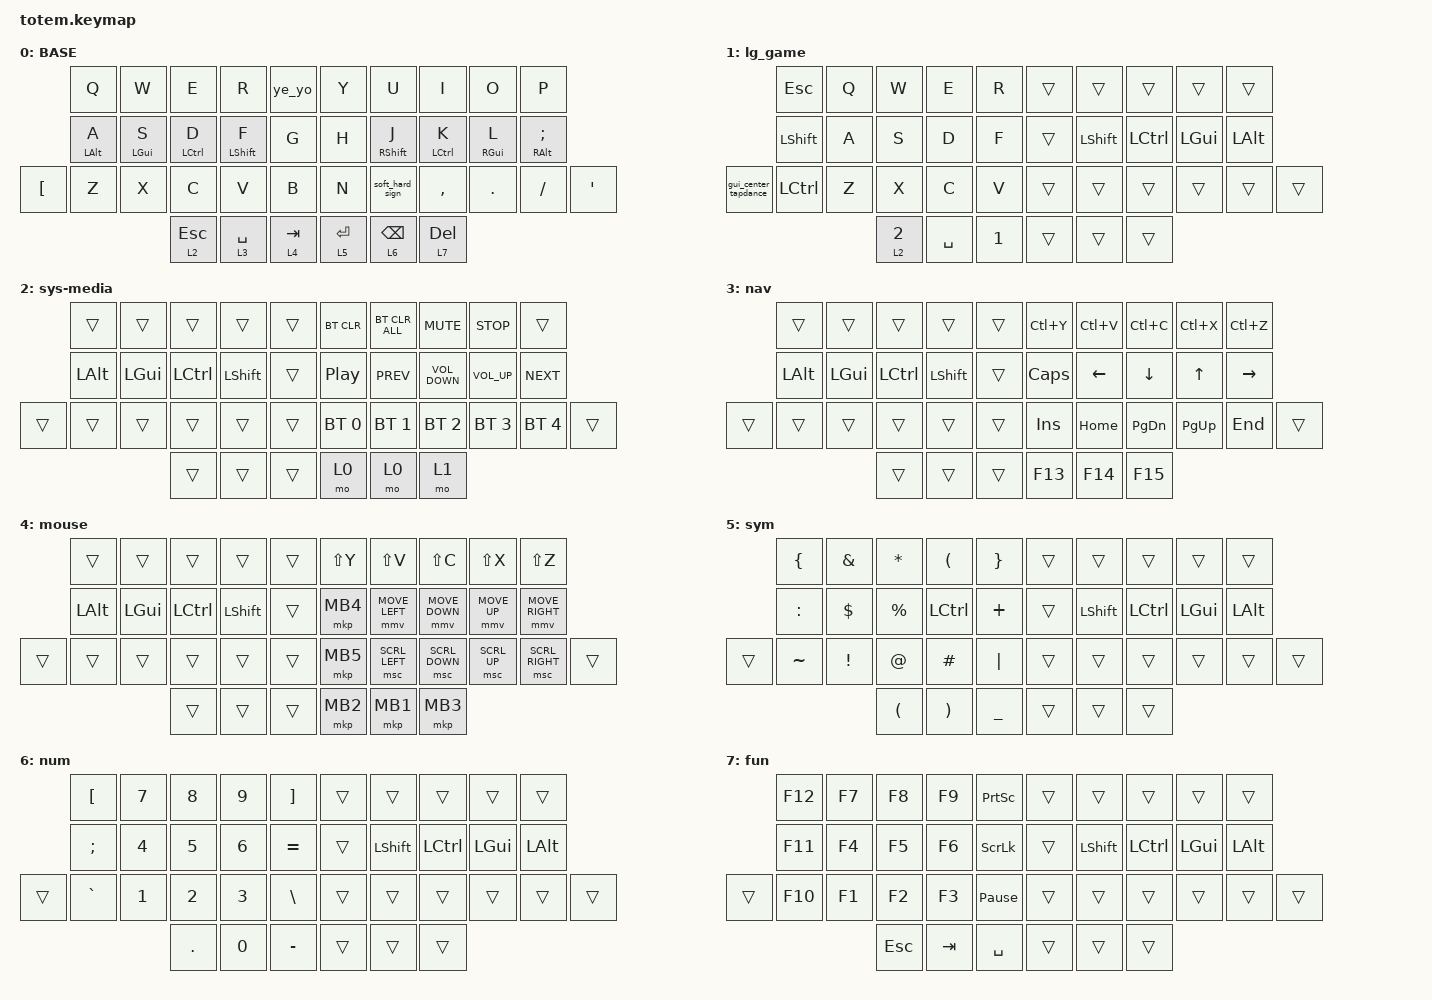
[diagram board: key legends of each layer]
//
//                                                        ▀▀▀▀▀     ▀▀▀▀▀          ▀▀█▀▀
//                                                        ▄▀▀▀▄  ▄  ▄▀▀▀▄  ▄  ▄▀▀▀▄  █  ▄▀▀▀▄
//                                                        █   █  █  █   █  █  █   █  █  █   █
//                                                         ▀▀▀   █   ▀▀▀   █   ▀▀▀   ▀   ▀▀▀
//                                                               █      ▄▄▄█▄▄▄    █   █  
//                                                               ▀      █  █  █     █▄█
//                                                             ▀▀▀▀▀    █  █  █      ▀
//                                                                      ▀  ▀  ▀
//
// ▄▄▄▄▄▄▄▄▄▄▄▄▄▄▄▄▄▄▄▄▄▄▄▄▄▄▄▄▄▄▄▄▄▄▄▄▄▄▄▄▄▄▄▄▄▄▄▄▄▄▄▄▄▄▄▄▄▄▄▄▄▄▄▄▄▄▄▄▄▄▄▄▄▄▄▄▄▄▄▄▄▄▄▄▄▄▄▄▄▄▄▄▄▄▄▄▄▄▄▄▄▄▄▄▄▄▄▄▄▄▄▄▄▄▄▄▄▄▄▄▄▄▄▄▄▄▄▄▄▄▄▄▄▄▄▄▄▄▄▄▄▄▄▄▄▄▄▄▄

#include <behaviors.dtsi>
#include <dt-bindings/zmk/bt.h>
#include <dt-bindings/zmk/keys.h>
#include <dt-bindings/zmk/pointing.h>
#include "keys_ru.h"

#define BASE 0
#define NAV  1
#define SYM  2
#define ADJ  3
#define TVP1 4
#define TVP2 5

&mt {
    quick-tap-ms = <100>;
    global-quick-tap;
    flavor = "tap-preferred";
    tapping-term-ms = <170>;
};

/ {
    combos {
        compatible = "zmk,combos";

        quotes_single {
            bindings = <&kp SQT>;
            key-positions = <17 18>;
        };

        quotes_double {
            bindings = <&kp DQT>;
            key-positions = <12 11>;
        };

        gui {
            bindings = <&kp LEFT_GUI>;
            key-positions = <18 11>;
        };

        layout_change {
            bindings = <&kp LG(SPACE)>;
            key-positions = <33 36>;
        };
    };

    macros {
        layout_change: layout_change {
            compatible = "zmk,behavior-macro";
            #binding-cells = <0>;
            bindings = <&none>;
            label = "LAYOUT_CHANGE";
        };
    };

    behaviors {
        gui_center_tapdance: gui_center_tapdance {
            compatible = "zmk,behavior-tap-dance";
            label = "GUI_CENTER_TAPDANCE";
            #binding-cells = <0>;
            bindings = <&kp LEFT_GUI>, <&kp LG(D)>;

            tapping-term-ms = <200>;
        };

        soft_hard_sign: soft_hard_sign {
            compatible = "zmk,behavior-tap-dance";
            label = "SOFT_HARD_SIGN";
            #binding-cells = <0>;
            bindings = <&kp H>, <&kp RIGHT_BRACKET>;

            tapping-term-ms = <200>;
        };

        ye_yo: ye_yo {
            compatible = "zmk,behavior-tap-dance";
            label = "YE_YO";
            #binding-cells = <0>;
            bindings = <&kp B>, <&kp GRAVE>;

            tapping-term-ms = <200>;
        };
    };

    keymap {
        compatible = "zmk,keymap";

        // ▄▄▄▄▄▄▄▄▄▄▄▄▄▄▄▄▄▄▄▄▄▄▄▄▄▄▄▄▄▄▄▄▄▄▄▄▄▄▄▄▄▄▄▄▄▄▄▄▄▄▄▄▄▄▄▄▄▄▄▄▄▄▄▄▄▄▄▄▄▄▄▄▄▄▄▄▄▄▄▄▄▄▄▄▄▄▄▄▄▄▄▄▄▄▄▄▄▄▄▄▄▄▄▄▄▄▄▄▄▄▄▄▄▄▄▄▄▄▄▄▄▄▄▄▄▄▄▄▄▄▄▄▄▄▄▄▄▄▄▄▄▄▄▄▄▄▄▄▄

        lg_english {
            // ┏━━━━━━━━━━━━━━━━━━━━━━━━━━━━━━━━━━━━━━━┓

            label = "BASE";

            // ┗━━━━━━━━━━━━━━━━━━━━━━━━━━━━━━━━━━━━━━━┛
            //             ┏━━━━━━━━━━━┳━━━━━━━━━━━┳━━━━━━━━━━━┳━━━━━━━━━━━┳━━━━━━━━━━━┓   ┏━━━━━━━━━━━┳━━━━━━━━━━━┳━━━━━━━━━━━┳━━━━━━━━━━━┳━━━━━━━━━━━┓
            //             ┃     Q     ┃     W     ┃     F     ┃     P     ┃     G     ┃   ┃     J     ┃     L     ┃     U     ┃     Y     ┃     ;     ┃
            //             ┣━━━━━━━━━━━╋━━━━━━━━━━━╋━━━━━━━━━━━╋━━━━━━━━━━━╋━━━━━━━━━━━┫   ┣━━━━━━━━━━━╋━━━━━━━━━━━╋━━━━━━━━━━━╋━━━━━━━━━━━╋━━━━━━━━━━━┫
            //             ┃     A     ┃     R     ┃     S     ┃     T     ┃     D     ┃   ┃     H     ┃     N     ┃     E     ┃     I     ┃     O     ┃
            // ┏━━━━━━━━━━━╋━━━━━━━━━━━╋━━━━━━━━━━━╋━━━━━━━━━━━╋━━━━━━━━━━━╋━━━━━━━━━━━┫   ┣━━━━━━━━━━━╋━━━━━━━━━━━╋━━━━━━━━━━━╋━━━━━━━━━━━╋━━━━━━━━━━━╋━━━━━━━━━━━┓
            // ┃     Q     ┃     Z     ┃     X     ┃     C     ┃     V     ┃     B     ┃   ┃     K     ┃     M     ┃     ,     ┃     .     ┃     /     ┃     \     ┃
            // ┗━━━━━━━━━━━┻━━━━━━━━━━━┻━━━━━━━━━━━╋━━━━━━━━━━━╋━━━━━━━━━━━╋━━━━━━━━━━━┫   ┣━━━━━━━━━━━╋━━━━━━━━━━━╋━━━━━━━━━━━╋━━━━━━━━━━━┻━━━━━━━━━━━┻━━━━━━━━━━━┛
            //                                     ┃    DEL    ┃    TAB    ┃    SPC    ┃   ┃   ENTER   ┃           ┃   BSPC    ┃
            //                                     ┗━━━━━━━━━━━┻━━━━━━━━━━━┻━━━━━━━━━━━┛   ┗━━━━━━━━━━━┻━━━━━━━━━━━┻━━━━━━━━━━━┛

            bindings = <
                  &kp Q           &kp W           &kp E               &kp R             &ye_yo       &kp Y        &kp U              &kp I               &kp O            &kp P
                  &mt LEFT_ALT A  &mt LEFT_GUI S  &mt LEFT_CONTROL D  &mt LEFT_SHIFT F  &kp G        &kp H        &mt RIGHT_SHIFT J  &mt LEFT_CONTROL K  &mt RIGHT_GUI L  &mt RIGHT_ALT SEMI
&kp LEFT_BRACKET  &kp Z           &kp X           &kp C               &kp V             &kp B        &kp N        &soft_hard_sign    &kp COMMA           &kp DOT          &kp FSLH            &kp SQT
                                                  &lt 2 ESCAPE        &lt 3 SPACE       &lt 4 TAB    &lt 5 ENTER  &lt 6 BACKSPACE    &lt 7 DELETE
            >;
        };

        lg_game {
            bindings = <
                      &kp ESCAPE  &kp Q  &kp W     &kp E      &kp R     &trans  &trans     &trans     &trans    &trans
                      &kp LSHFT   &kp A  &kp S     &kp D      &kp F     &trans  &kp LSHFT  &kp LCTRL  &kp LGUI  &kp LALT
&gui_center_tapdance  &kp LCTRL   &kp Z  &kp X     &kp C      &kp V     &trans  &trans     &trans     &trans    &trans    &trans
                                         &lt 2 N2  &kp SPACE  &kp N1    &trans  &trans     &trans
            >;
        };

        sys-media {
            bindings = <
        &trans    &trans    &trans     &trans     &trans    &bt BT_CLR    &bt BT_CLR_ALL  &kp C_MUTE         &kp C_STOP       &trans
        &kp LALT  &kp LGUI  &kp LCTRL  &kp LSHFT  &trans    &kp C_PP      &kp C_PREV      &kp C_VOLUME_DOWN  &kp C_VOLUME_UP  &kp C_NEXT
&trans  &trans    &trans    &trans     &trans     &trans    &bt BT_SEL 0  &bt BT_SEL 1    &bt BT_SEL 2       &bt BT_SEL 3     &bt BT_SEL 4  &trans
                            &trans     &trans     &trans    &mo 0         &mo 0           &mo 1
            >;
        };

        nav {
            bindings = <
        &trans    &trans    &trans     &trans     &trans    &kp LC(Y)  &kp LC(V)  &kp LC(C)  &kp LC(X)  &kp LC(Z)
        &kp LALT  &kp LGUI  &kp LCTRL  &kp LSHFT  &trans    &kp CAPS   &kp LEFT   &kp DOWN   &kp UP     &kp RIGHT
&trans  &trans    &trans    &trans     &trans     &trans    &kp INS    &kp HOME   &kp PG_DN  &kp PG_UP  &kp END    &trans
                            &trans     &trans     &trans    &kp F13    &kp F14    &kp F15
            >;
        };

        mouse {
            bindings = <
        &trans    &trans    &trans     &trans     &trans    &kp LS(Y)  &kp LS(V)       &kp LS(C)       &kp LS(X)     &kp LS(Z)
        &kp LALT  &kp LGUI  &kp LCTRL  &kp LSHFT  &trans    &mkp MB4   &mmv MOVE_LEFT  &mmv MOVE_DOWN  &mmv MOVE_UP  &mmv MOVE_RIGHT
&trans  &trans    &trans    &trans     &trans     &trans    &mkp MB5   &msc SCRL_LEFT  &msc SCRL_DOWN  &msc SCRL_UP  &msc SCRL_RIGHT  &trans
                            &trans     &trans     &trans    &mkp MB2   &mkp MB1        &mkp MB3
            >;
        };

        sym {
            bindings = <
        &kp LEFT_BRACE  &kp AMPERSAND    &kp ASTERISK          &kp LEFT_PARENTHESIS   &kp RIGHT_BRACE    &trans  &trans     &trans     &trans    &trans
        &kp COLON       &kp DOLLAR       &kp PERCENT           &kp LCTRL              &kp PLUS           &trans  &kp LSHFT  &kp LCTRL  &kp LGUI  &kp LALT
&trans  &kp TILDE       &kp EXCLAMATION  &kp AT_SIGN           &kp HASH               &kp PIPE           &trans  &trans     &trans     &trans    &trans    &trans
                                         &kp LEFT_PARENTHESIS  &kp RIGHT_PARENTHESIS  &kp UNDERSCORE     &trans  &trans     &trans
            >;
        };

        num {
            bindings = <
        &kp LBKT   &kp N7  &kp N8   &kp N9  &kp RBKT     &trans  &trans     &trans     &trans    &trans
        &kp SEMI   &kp N4  &kp N5   &kp N6  &kp EQUAL    &trans  &kp LSHFT  &kp LCTRL  &kp LGUI  &kp LALT
&trans  &kp GRAVE  &kp N1  &kp N2   &kp N3  &kp BSLH     &trans  &trans     &trans     &trans    &trans    &trans
                           &kp DOT  &kp N0  &kp MINUS    &trans  &trans     &trans
            >;
        };

        fun {
            bindings = <
        &kp F12  &kp F7  &kp F8   &kp F9   &kp PRINTSCREEN    &trans  &trans     &trans     &trans    &trans
        &kp F11  &kp F4  &kp F5   &kp F6   &kp SCROLLLOCK     &trans  &kp LSHFT  &kp LCTRL  &kp LGUI  &kp LALT
&trans  &kp F10  &kp F1  &kp F2   &kp F3   &kp PAUSE_BREAK    &trans  &trans     &trans     &trans    &trans    &trans
                         &kp ESC  &kp TAB  &kp SPACE          &trans  &trans     &trans
            >;
        };
    };
};
